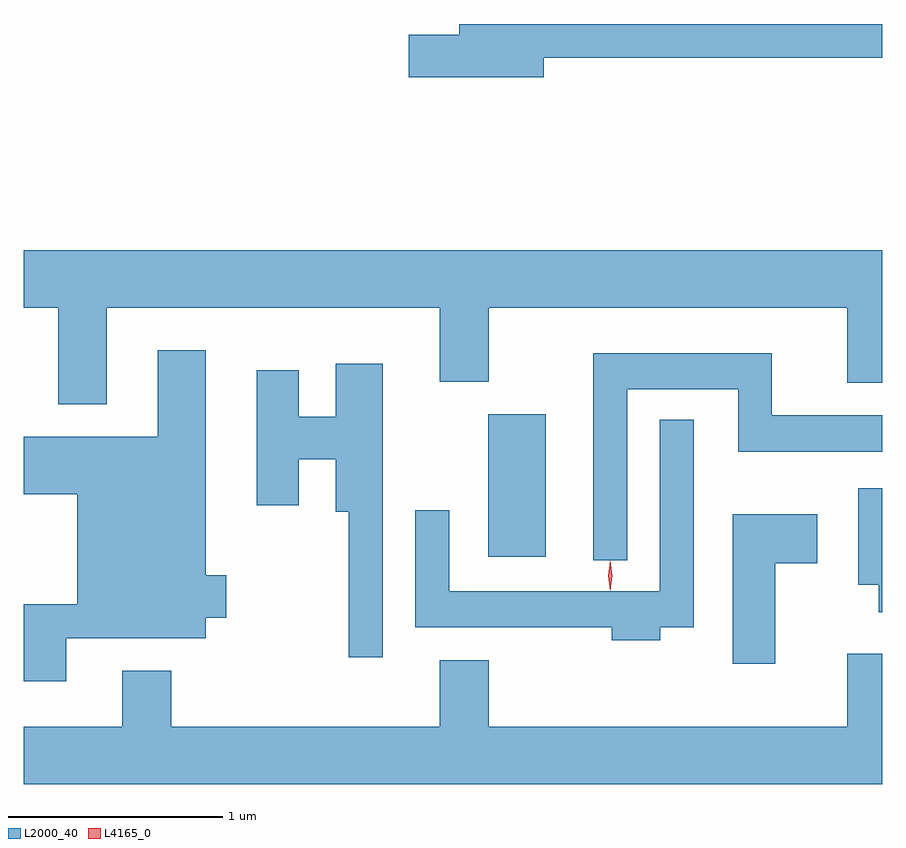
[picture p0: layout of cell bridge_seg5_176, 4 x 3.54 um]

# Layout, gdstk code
import gdstk
lib = gdstk.Library(unit=1e-6, precision=1e-09)
def R(c, l, rs):  # rectangles x0, y0, x1, y1
    for r in rs: c.add(gdstk.rectangle(r[:2], r[2:], *l))
def P(c, l, *ps):  # polygons
    for p in ps: c.add(gdstk.Polygon(p, *l))
L2000_40 = (2000, 40)
L4165_0 = (4165, 0)

bridge_seg5_176 = lib.new_cell('bridge_seg5_176')
R(bridge_seg5_176, L2000_40, [(1230.916,1420.116,1231.184,1420.779)])
P(bridge_seg5_176, L2000_40, [(1231.174,1422.441),(1232.752,1422.441),(1232.752,1422.599),(1230.781,1422.599),(1230.781,1422.549),(1230.546,1422.549),(1230.546,1422.351),(1231.174,1422.351)],
  [(1229.139,1421.276),(1230.691,1421.276),(1230.691,1420.931),(1230.919,1420.931),(1230.919,1421.276),(1232.591,1421.276),(1232.591,1420.926),(1232.752,1420.926),(1232.752,1421.544),(1228.752,1421.544),(1228.752,1421.276),(1228.911,1421.276),(1228.911,1420.826),(1229.139,1420.826)],
  [(1228.949,1419.736),(1229.599,1419.736),(1229.599,1419.831),(1229.694,1419.831),(1229.694,1420.029),(1229.599,1420.029),(1229.599,1421.079),(1229.376,1421.079),(1229.376,1420.674),(1228.752,1420.674),(1228.752,1420.406),(1229.001,1420.406),(1229.001,1419.894),(1228.752,1419.894),(1228.752,1419.536),(1228.949,1419.536)],
  [(1231.564,1420.896),(1232.081,1420.896),(1232.081,1420.606),(1232.752,1420.606),(1232.752,1420.774),(1232.239,1420.774),(1232.239,1421.064),(1231.406,1421.064),(1231.406,1420.098),(1231.564,1420.098)],
  [(1230.424,1421.014),(1230.206,1421.014),(1230.206,1420.769),(1230.034,1420.769),(1230.034,1420.984),(1229.836,1420.984),(1229.836,1420.356),(1230.034,1420.356),(1230.034,1420.571),(1230.206,1420.571),(1230.206,1420.326),(1230.266,1420.326),(1230.266,1419.648),(1230.424,1419.648)],
  [(1231.719,1419.786),(1231.874,1419.786),(1231.874,1420.753),(1231.716,1420.753),(1231.716,1419.954),(1230.734,1419.954),(1230.734,1420.333),(1230.576,1420.333),(1230.576,1419.786),(1231.491,1419.786),(1231.491,1419.726),(1231.719,1419.726)],
  [(1232.752,1420.434),(1232.641,1420.434),(1232.641,1419.986),(1232.736,1419.986),(1232.736,1419.856),(1232.752,1419.856)],
  [(1232.254,1420.086),(1232.449,1420.086),(1232.449,1420.314),(1232.056,1420.314),(1232.056,1419.616),(1232.254,1419.616)],
  [(1232.752,1419.664),(1232.591,1419.664),(1232.591,1419.324),(1230.919,1419.324),(1230.919,1419.634),(1230.691,1419.634),(1230.691,1419.324),(1229.439,1419.324),(1229.439,1419.584),(1229.211,1419.584),(1229.211,1419.324),(1228.752,1419.324),(1228.752,1419.056),(1232.752,1419.056)])
P(bridge_seg5_176, L4165_0, [(1231.484,1419.957),(1231.475,1420.026),(1231.484,1420.096),(1231.485,1420.096),(1231.485,1420.096),(1231.495,1420.026),(1231.485,1419.957),(1231.485,1419.957)])

lib.write_gds('bridge_seg5_176.gds')
